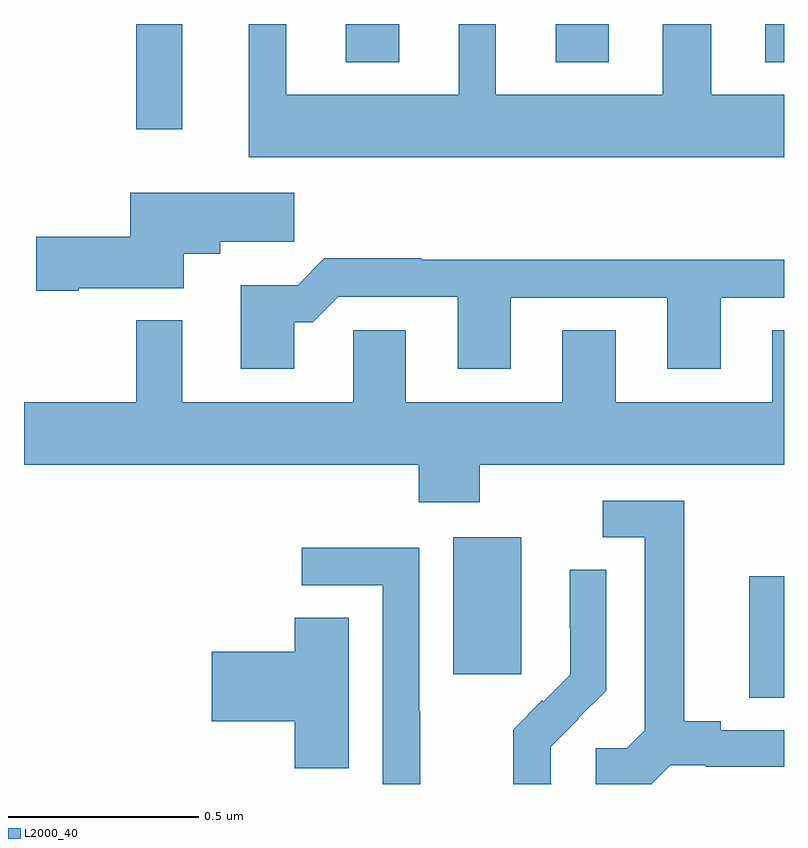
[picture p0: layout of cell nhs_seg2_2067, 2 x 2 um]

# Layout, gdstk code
import gdstk
lib = gdstk.Library(unit=1e-6, precision=1e-09)
def R(c, l, rs):  # rectangles x0, y0, x1, y1
    for r in rs: c.add(gdstk.rectangle(r[:2], r[2:], *l))
def P(c, l, *ps):  # polygons
    for p in ps: c.add(gdstk.Polygon(p, *l))
L2000_40 = (2000, 40)

nhs_seg2_2067 = lib.new_cell('nhs_seg2_2067')
R(nhs_seg2_2067, L2000_40, [(137.909,643.027,138,643.347), (137.129,643.089,137.308,643.45), (136.296,644.523,136.417,644.8), (136.847,644.699,136.987,644.8), (137.399,644.699,137.539,644.8), (137.951,644.699,138,644.8)])
P(nhs_seg2_2067, L2000_40, [(138,644.614),(137.809,644.614),(137.809,644.8),(137.681,644.8),(137.681,644.614),(137.242,644.614),(137.242,644.8),(137.144,644.8),(137.144,644.614),(136.69,644.614),(136.69,644.8),(136.592,644.8),(136.592,644.45),(138,644.45)],
  [(136.144,644.105),(136.42,644.105),(136.42,644.195),(136.516,644.195),(136.516,644.227),(136.711,644.227),(136.711,644.356),(136.28,644.356),(136.28,644.24),(136.032,644.24),(136.032,644.098),(136.144,644.098)],
  [(136.711,644.015),(136.76,644.015),(136.827,644.082),(137.141,644.082),(137.141,643.893),(137.281,643.893),(137.281,644.079),(137.693,644.079),(137.693,643.893),(137.833,643.893),(137.833,644.079),(138,644.079),(138,644.18),(137.045,644.18),(137.045,644.183),(136.79,644.183),(136.72,644.113),(136.571,644.113),(136.571,643.893),(136.711,643.893)],
  [(137.199,643.64),(138,643.64),(138,643.994),(137.969,643.994),(137.969,643.804),(137.557,643.804),(137.557,643.994),(137.417,643.994),(137.417,643.804),(137.005,643.804),(137.005,643.994),(136.866,643.994),(136.866,643.804),(136.417,643.804),(136.417,644.02),(136.296,644.02),(136.296,643.804),(136,643.804),(136,643.64),(137.039,643.64),(137.039,643.541),(137.199,643.541)],
  [(137.7,642.849),(137.794,642.849),(137.794,642.846),(138,642.846),(138,642.942),(137.833,642.942),(137.833,642.965),(137.737,642.965),(137.737,643.545),(137.523,643.545),(137.523,643.449),(137.633,643.449),(137.633,642.941),(137.586,642.894),(137.505,642.894),(137.505,642.8),(137.651,642.8)],
  [(137.043,642.992),(137.04,642.992),(137.04,643.422),(136.731,643.422),(136.731,643.323),(136.944,643.323),(136.944,642.8),(137.043,642.8)],
  [(137.388,642.801),(137.386,642.801),(137.386,642.898),(137.46,642.972),(137.459,642.973),(137.532,643.046),(137.532,643.364),(137.436,643.364),(137.436,643.21),(137.438,643.21),(137.438,643.088),(137.367,643.017),(137.364,643.02),(137.287,642.943),(137.287,642.8),(137.388,642.8)],
  [(136.855,643.238),(136.712,643.238),(136.712,643.148),(136.494,643.148),(136.494,642.965),(136.712,642.965),(136.712,642.841),(136.855,642.841)])

lib.write_gds('nhs_seg2_2067.gds')
